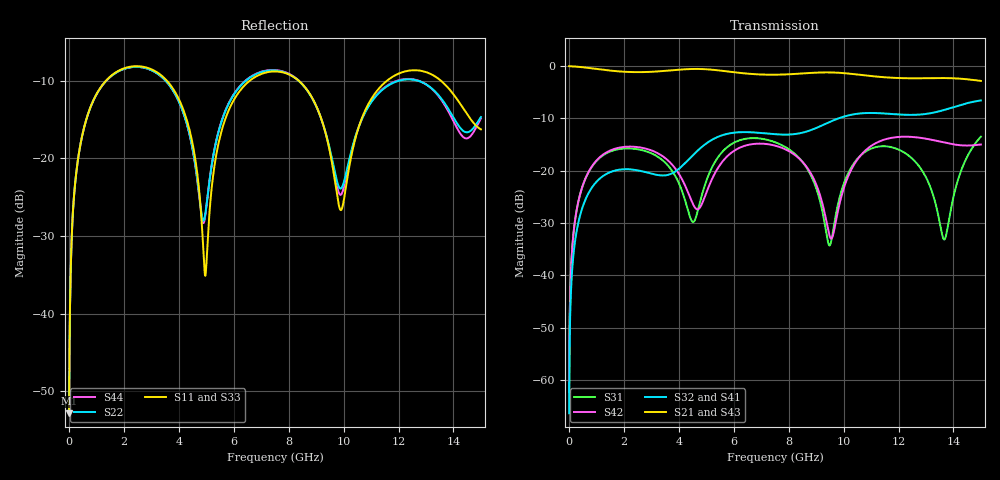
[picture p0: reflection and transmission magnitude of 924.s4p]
! Created with skrf 1.8.0 (http://scikit-rf.org).
# GHz S RI R 50.0
!freq ReS11 ImS11 ReS12 ImS12 ReS13 ImS13
! ReS14 ImS14
! ReS21 ImS21 ReS22 ImS22 ReS23 ImS23
! ReS24 ImS24
! ReS31 ImS31 ReS32 ImS32 ReS33 ImS33
! ReS34 ImS34
! ReS41 ImS41 ReS42 ImS42 ReS43 ImS43
! ReS44 ImS44
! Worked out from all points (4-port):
!   2499 points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, 5 MHz to 15 GHz, reference 50 ohm
!   strongest paths, dB at 5 MHz, 3.476 GHz, 7.19 GHz, 11.1 GHz, 15 GHz:
!     S21: 0.0, -0.9, -1.6, -2.0, -2.8
!     S43: 0.0, -0.9, -1.6, -2.0, -2.8
!     S32: -66.4, -20.9, -12.9, -9.0, -6.6
!     S41: -66.4, -21.0, -13.0, -9.0, -6.6
!     S42: -62.3, -17.5, -14.9, -15.0, -15.0
!     S31: -62.3, -18.3, -14.1, -15.6, -13.5
!   lowest |S11| = -52.8 dB at 5 MHz (marker M1), VSWR 1.00, Z = 50.2 + j0.138 ohm
!   |S11| at or under -10 dB: 3.559 GHz to 6.591 GHz (3.033 GHz wide, 59.8 % of centre); 8.356 GHz to 11.59 GHz (3.234 GHz wide, 32.4 % of centre); 13.54 GHz to end of sweep (the widest 3 of 4)
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0.005  0.00182 0.00137  0.9981 -0.00354  9.31e-05 0.000761  -9.03e-05 -0.000471
       0.9981 -0.00354  0.00182 0.00137  -9.03e-05 -0.000471  9.34e-05 0.000761
       9.31e-05 0.000761  -9.03e-05 -0.000471  0.00182 0.00137  0.9981 -0.00354
       -9.03e-05 -0.000471  9.34e-05 0.000761  0.9981 -0.00354  0.00182 0.00137
0.3126303  0.0287 0.0895  0.9607 -0.219  0.0135 0.0447  -0.0115 -0.0271
           0.9607 -0.219  0.0286 0.0895  -0.0116 -0.0271  0.0144 0.0444
           0.0135 0.0447  -0.0116 -0.0271  0.0287 0.0895  0.9607 -0.219
           -0.0115 -0.0271  0.0144 0.0444  0.9607 -0.219  0.0286 0.0895
1.419341  0.2752 0.1731  0.5399 -0.7335  0.1313 0.071  -0.0944 -0.00455
          0.5399 -0.7335  0.2716 0.1755  -0.0946 -0.00426  0.1411 0.0575
          0.1313 0.071  -0.0946 -0.00426  0.275 0.1732  0.5399 -0.7335
          -0.0944 -0.00455  0.1411 0.0575  0.5399 -0.7335  0.2718 0.1753
4.958316  0.0174 -0.00191  -0.9325 -0.0508  0.0456 0.0583  -0.00729 0.1786
          -0.9325 -0.0508  0.0407 0.0139  -0.00213 0.1788  -0.0304 0.0487
          0.0456 0.0583  -0.00213 0.1788  0.0182 -0.00121  -0.9326 -0.0507
          -0.00729 0.1786  -0.0304 0.0487  -0.9326 -0.0507  0.0394 0.015
7.521884  0.3617 -0.00794  -0.0684 0.8245  0.1663 -0.0844  0.2144 -0.0481
          -0.0684 0.8245  0.366 -0.0196  0.2153 -0.0584  0.1589 -0.0689
          0.1663 -0.0844  0.2153 -0.0584  0.3602 -0.00495  -0.069 0.8243
          0.2144 -0.0481  0.1589 -0.0689  -0.069 0.8243  0.3684 -0.0218
10.23551  0.0642 0.0686  0.8438 -0.0516  0.0433 0.0929  -0.0281 -0.3395
          0.8438 -0.0516  0.0826 0.0611  -0.0485 -0.3372  0.0504 0.0828
          0.0433 0.0929  -0.0485 -0.3372  0.0688 0.0661  0.8441 -0.05
          -0.0281 -0.3395  0.0504 0.0828  0.8441 -0.05  0.0779 0.0635
15  0.1435 -0.054  -0.7124 -0.1147  0.0795 0.1961  -0.0872 0.4618
    -0.7124 -0.1147  0.1717 0.0661  -0.0493 0.4669  -0.1106 0.1396
    0.0795 0.1961  -0.0493 0.4669  0.1419 -0.0582  -0.7122 -0.1172
    -0.0872 0.4618  -0.1106 0.1396  -0.7122 -0.1172  0.1619 0.0788
